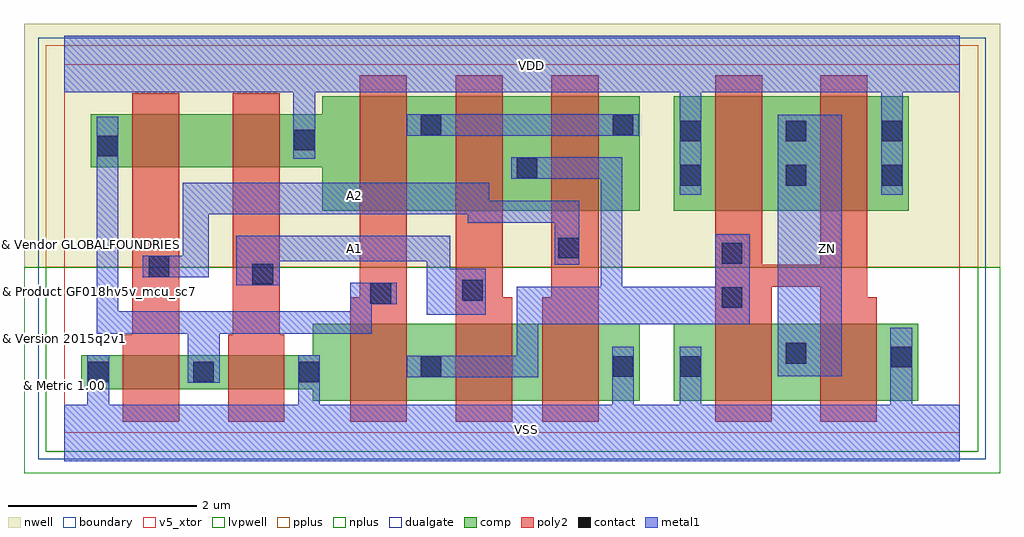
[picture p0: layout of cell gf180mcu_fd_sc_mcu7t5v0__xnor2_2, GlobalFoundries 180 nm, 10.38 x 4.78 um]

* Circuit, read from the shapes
.subckt gf180mcu_fd_sc_mcu7t5v0__xnor2_2 A1 A2 VDD VSS ZN
XM1 n1 A2 VSS VSUBS nfet_05v0 w=0.36u l=0.6u
XM2 VSS A1 n1 VSUBS nfet_05v0 w=0.36u l=0.6u
XM3 n2 n1 VSS VSUBS nfet_05v0 w=0.82u l=0.6u
XM4 n3 A1 n2 VSUBS nfet_05v0 w=0.82u l=0.6u
XM5 VSS A2 n3 VSUBS nfet_05v0 w=0.82u l=0.6u
XM6 ZN n2 VSS VSUBS nfet_05v0 w=0.82u l=0.6u m=2
XM7 n4 A2 n1 n5 pfet_05v0 w=0.565u l=0.5u
XM8 VDD A1 n4 n5 pfet_05v0 w=0.565u l=0.5u
XM9 n6 n1 VDD n5 pfet_05v0 w=1.22u l=0.5u
XM10 n2 A1 n6 n5 pfet_05v0 w=1.22u l=0.5u
XM11 n6 A2 n2 n5 pfet_05v0 w=1.22u l=0.5u
XM12 ZN n2 VDD n5 pfet_05v0 w=1.22u l=0.5u m=2
.ends

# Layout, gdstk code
import gdstk
lib = gdstk.Library(unit=1e-6, precision=1e-09)
def R(c, l, rs):  # rectangles x0, y0, x1, y1
    for r in rs: c.add(gdstk.rectangle(r[:2], r[2:], *l))
def A(c, l, x, y, w, h, nx, ny, dx, dy):  # array of equal rectangles
    R(c, l, [(x+i*dx, y+j*dy, x+i*dx+w, y+j*dy+h) for i in range(nx) for j in range(ny)])
def P(c, l, *ps):  # polygons
    for p in ps: c.add(gdstk.Polygon(p, *l))
boundary = (0, 0)
nwell = (21, 0)
comp = (22, 0)
poly2 = (30, 0)
pplus = (31, 0)
nplus = (32, 0)
contact = (33, 0)
metal1 = (34, 0)
dualgate = (55, 0)
v5_xtor = (112, 1)
lvpwell = (204, 0)

gf180mcu_fd_sc_mcu7t5v0_ = lib.new_cell('gf180mcu_fd_sc_mcu7t5v0__xnor2_2')
R(gf180mcu_fd_sc_mcu7t5v0_, boundary, [(0,0,9.52,3.92)])
R(gf180mcu_fd_sc_mcu7t5v0_, nwell, [(-0.43,1.76,9.95,4.35)])
R(gf180mcu_fd_sc_mcu7t5v0_, comp, [(6.48,0.34,9.08,1.16), (6.48,2.36,8.98,3.58)])
P(gf180mcu_fd_sc_mcu7t5v0_, comp, [(2.64,0.34),(2.64,0.465),(0.18,0.465),(0.18,0.825),(2.64,0.825),(2.64,1.16),(6.12,1.16),(6.12,0.34)],
  [(2.74,2.36),(2.74,2.825),(0.28,2.825),(0.28,3.39),(2.74,3.39),(2.74,3.58),(6.12,3.58),(6.12,2.36)])
P(gf180mcu_fd_sc_mcu7t5v0_, poly2, [(0.62,0.12),(0.62,1.045),(0.72,1.045),(0.72,3.61),(1.22,3.61),(1.22,0.12)],
  [(1.74,0.12),(1.74,1.045),(1.79,1.045),(1.79,3.61),(2.29,3.61),(2.29,1.045),(2.34,1.045),(2.34,0.12)],
  [(3.04,0.12),(3.04,1.44),(3.14,1.44),(3.14,3.8),(3.64,3.8),(3.64,0.12)],
  [(4.16,0.12),(4.16,3.8),(4.66,3.8),(4.66,1.44),(4.76,1.44),(4.76,0.12)],
  [(5.08,0.12),(5.08,1.44),(5.18,1.44),(5.18,3.8),(5.68,3.8),(5.68,0.12)],
  [(6.92,0.12),(6.92,3.8),(7.42,3.8),(7.42,1.785),(8.04,1.785),(8.04,3.8),(8.54,3.8),(8.54,1.44),(8.64,1.44),(8.64,0.12),(8.04,0.12),(8.04,1.555),(7.52,1.555),(7.52,0.12)])
R(gf180mcu_fd_sc_mcu7t5v0_, pplus, [(-0.2,1.76,9.72,4.12)])
R(gf180mcu_fd_sc_mcu7t5v0_, nplus, [(-0.2,-0.2,9.72,1.76)])
A(gf180mcu_fd_sc_mcu7t5v0_, contact, 0.25, 0.535, 0.22, 0.22, 3, 1, 1.12, 0)
R(gf180mcu_fd_sc_mcu7t5v0_, contact, [(3.79,0.595,4.01,0.815), (5.83,0.595,6.05,0.815), (6.55,0.595,6.77,0.815), (8.79,0.695,9.01,0.915), (7.67,0.735,7.89,0.955), (6.99,1.33,7.21,1.55), (3.255,1.37,3.475,1.59), (4.23,1.405,4.45,1.625), (2,1.58,2.22,1.8), (0.895,1.66,1.115,1.88), (6.99,1.8,7.21,2.02), (5.25,1.855,5.47,2.075), (6.55,2.63,6.77,2.85), (7.67,2.63,7.89,2.85), (8.69,2.63,8.91,2.85), (4.81,2.705,5.03,2.925), (0.35,2.94,0.57,3.16), (2.44,3.005,2.66,3.225), (6.55,3.1,6.77,3.32), (7.67,3.1,7.89,3.32), (8.69,3.1,8.91,3.32), (3.79,3.165,4.01,3.385), (5.83,3.165,6.05,3.385)])
R(gf180mcu_fd_sc_mcu7t5v0_, metal1, [(7.585,0.6,8.265,3.38), (3.64,3.16,6.11,3.39)])
P(gf180mcu_fd_sc_mcu7t5v0_, metal1, [(1.31,0.53),(1.31,1.055),(0.345,1.055),(0.345,3.36),(0.575,3.36),(0.575,1.29),(3.04,1.29),(3.04,1.595),(3.535,1.595),(3.535,1.365),(3.27,1.365),(3.27,1.055),(1.65,1.055),(1.65,0.53)],
  [(3.855,1.255),(3.855,1.825),(2.29,1.825),(2.29,1.57),(1.825,1.57),(1.825,2.095),(4.105,2.095),(4.105,1.745),(4.48,1.745),(4.48,1.255)],
  [(0.835,1.655),(0.835,1.885),(1.26,1.885),(1.26,2.66),(4.52,2.66),(4.52,2.47),(5.475,2.47),(5.475,1.785),(5.215,1.785),(5.215,2.235),(4.29,2.235),(4.29,2.325),(1.535,2.325),(1.535,1.655)],
  [(3.64,0.59),(3.64,0.82),(4.81,0.82),(4.81,1.555),(5.705,1.555),(5.705,2.7),(4.75,2.7),(4.75,2.93),(5.935,2.93),(5.935,1.555),(6.92,1.555),(6.92,2.11),(7.29,2.11),(7.29,1.155),(5.04,1.155),(5.04,0.59)],
  [(0,-0.3),(0,0.3),(0.245,0.3),(0.245,0.825),(0.475,0.825),(0.475,0.3),(2.485,0.3),(2.485,0.825),(2.715,0.825),(2.715,0.3),(5.825,0.3),(5.825,0.915),(6.055,0.915),(6.055,0.3),(6.545,0.3),(6.545,0.915),(6.775,0.915),(6.775,0.3),(8.785,0.3),(8.785,1.115),(9.015,1.115),(9.015,0.3),(9.52,0.3),(9.52,-0.3)],
  [(6.545,2.53),(6.545,3.62),(2.665,3.62),(2.665,2.915),(2.435,2.915),(2.435,3.62),(0,3.62),(0,4.22),(9.52,4.22),(9.52,3.62),(8.915,3.62),(8.915,2.53),(8.685,2.53),(8.685,3.62),(6.775,3.62),(6.775,2.53)])
R(gf180mcu_fd_sc_mcu7t5v0_, dualgate, [(-0.28,-0.28,9.8,4.2)])
R(gf180mcu_fd_sc_mcu7t5v0_, v5_xtor, [(0,0,9.52,3.92)])
R(gf180mcu_fd_sc_mcu7t5v0_, lvpwell, [(-0.43,-0.43,9.95,1.76)])
gf180mcu_fd_sc_mcu7t5v0_.add(gdstk.Label('VDD', (4.97,3.905), layer=34, texttype=10))
gf180mcu_fd_sc_mcu7t5v0_.add(gdstk.Label('VSS', (4.915,0.035), layer=34, texttype=10))
gf180mcu_fd_sc_mcu7t5v0_.add(gdstk.Label('ZN', (8.12,1.96), layer=34, texttype=10))
gf180mcu_fd_sc_mcu7t5v0_.add(gdstk.Label('A1', (3.08,1.96), layer=34, texttype=10))
gf180mcu_fd_sc_mcu7t5v0_.add(gdstk.Label('A2', (3.08,2.52), layer=34, texttype=10))
gf180mcu_fd_sc_mcu7t5v0_.add(gdstk.Label('& Vendor GLOBALFOUNDRIES', (0,2), layer=63, texttype=63))
gf180mcu_fd_sc_mcu7t5v0_.add(gdstk.Label('& Product GF018hv5v_mcu_sc7', (0,1.5), layer=63, texttype=63))
gf180mcu_fd_sc_mcu7t5v0_.add(gdstk.Label('& Version 2015q2v1', (0,1), layer=63, texttype=63))
gf180mcu_fd_sc_mcu7t5v0_.add(gdstk.Label('& Metric 1.00', (0,0.5), layer=63, texttype=63))

lib.write_gds('gf180mcu_fd_sc_mcu7t5v0__xnor2_2.gds')
